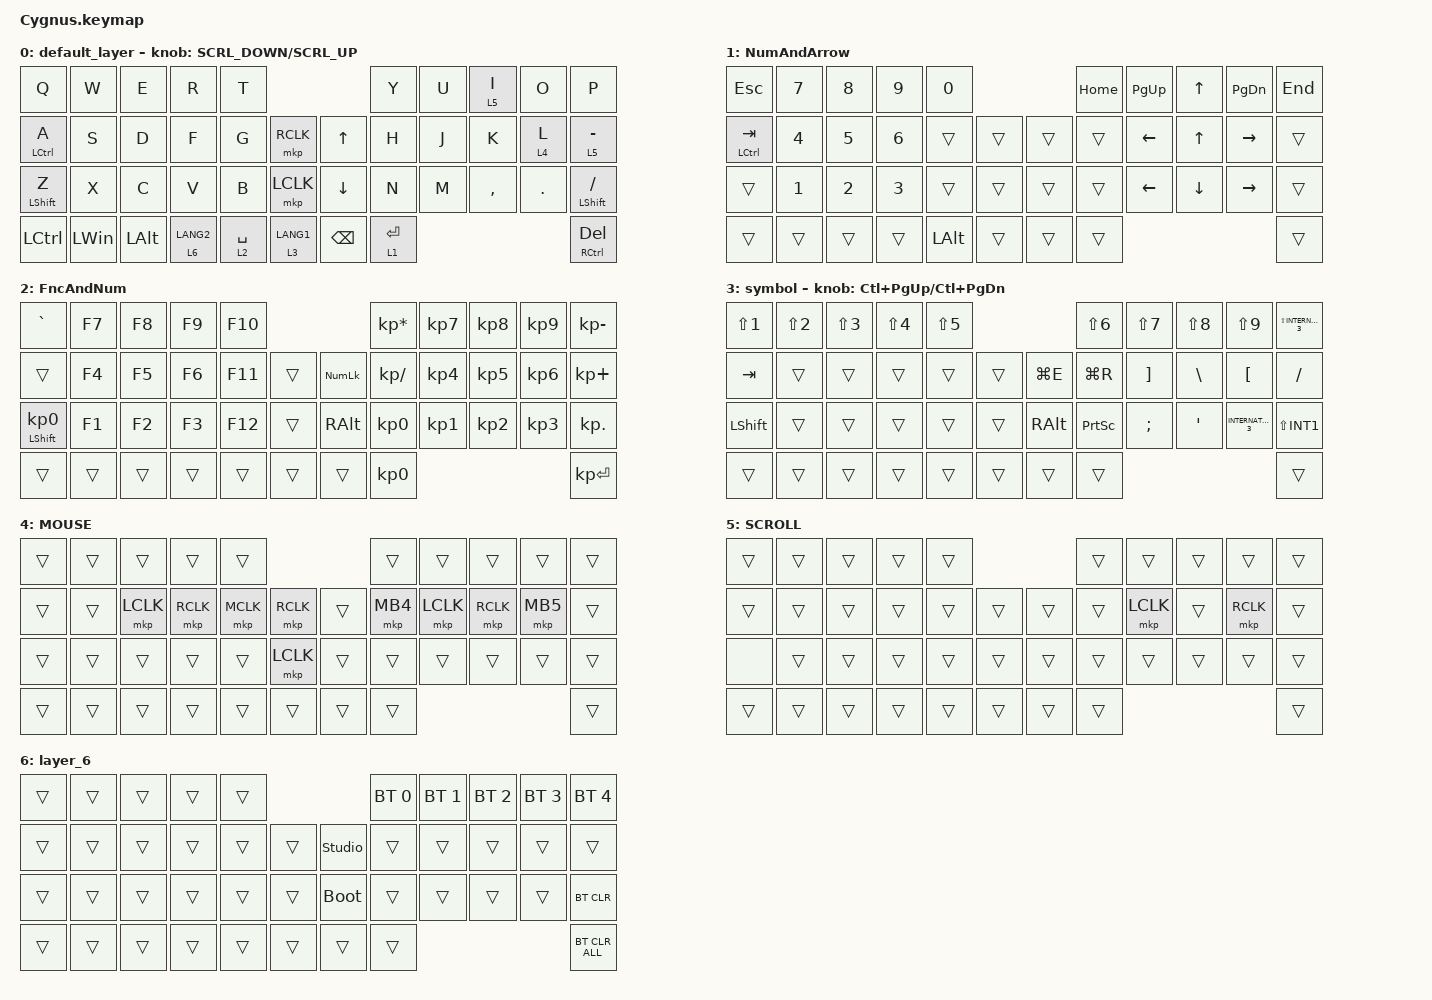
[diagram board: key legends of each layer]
#define ZMK_POINTING_DEFAULT_SCRL_VAL 120    // default: 10

#include <behaviors.dtsi>
#include <dt-bindings/zmk/bt.h>
#include <dt-bindings/zmk/keys.h>
#include <dt-bindings/zmk/pointing.h>

#define MOUSE 4
#define SCROLL 5
#define NUM 6

&mt {
    flavor = "balanced";
    quick-tap-ms = <0>;
};

/ {
    combos {
        compatible = "zmk,combos";

        double_quotation {
            bindings = <&kp DOUBLE_QUOTES>;
            key-positions = <20 21>;
        };
    };

    macros {
        to_layer_0: to_layer_0 {
            compatible = "zmk,behavior-macro-one-param";
            #binding-cells = <1>;
            bindings = <&to 0 &macro_param_1to1 &kp MACRO_PLACEHOLDER>;
            label = "TO_LAYER_0";
        };
    };

    behaviors {
        lt_to_layer_0: lt_to_layer_0 {
            compatible = "zmk,behavior-hold-tap";
            label = "LAYER_TAP_TO_0";
            bindings = <&mo>, <&to_layer_0>;

            #binding-cells = <2>;
            tapping-term-ms = <200>;
        };

        ROTATE: ROTATE {
            compatible = "zmk,behavior-sensor-rotate-var";
            label = "ROTATE";
            #sensor-binding-cells = <2>;
            bindings = <&msc>, <&msc>;

            tap-ms = <20>;
        };
    };

    keymap {
        compatible = "zmk,keymap";

        default_layer {
            bindings = <
&kp Q             &kp W         &kp E         &kp R        &kp T                                         &kp Y        &kp U  &lt 5 I    &kp O    &kp P
&mt LCTRL A       &kp S         &kp D         &kp F        &kp G        &mkp RCLK        &kp UP_ARROW    &kp H        &kp J  &kp K      &lt 4 L  &lt 5 MINUS
&mt LEFT_SHIFT Z  &kp X         &kp C         &kp V        &kp B        &mkp LCLK        &kp DOWN_ARROW  &kp N        &kp M  &kp COMMA  &kp DOT  &mt LEFT_SHIFT SLASH
&kp LCTRL         &kp LEFT_WIN  &kp LEFT_ALT  &lt 6 LANG2  &lt 2 SPACE  &lt 3 LANG1      &kp BACKSPACE   &lt 1 ENTER                             &mt RCTRL DEL
            >;

            sensor-bindings = <&ROTATE SCRL_DOWN SCRL_UP>;
        };

        NumAndArrow {
            bindings = <
&kp ESCAPE     &kp N7        &kp N8        &kp N9        &kp NUMBER_0                      &kp HOME  &kp PAGE_UP     &kp UP_ARROW    &kp PAGE_DOWN    &kp END
&mt LCTRL TAB  &kp NUMBER_4  &kp N5        &kp NUMBER_6  &trans        &trans      &trans  &trans    &kp LEFT_ARROW  &kp UP_ARROW    &kp RIGHT_ARROW  &trans
&trans         &kp NUMBER_1  &kp NUMBER_2  &kp NUMBER_3  &trans        &trans      &trans  &trans    &kp LEFT_ARROW  &kp DOWN_ARROW  &kp RIGHT_ARROW  &trans
&trans         &trans        &trans        &trans        &kp LEFT_ALT  &trans      &trans  &trans                                                     &trans
            >;
        };

        FncAndNum {
            bindings = <
&kp GRAVE                   &kp F7  &kp F8  &kp F9  &kp F10                             &kp KP_ASTERISK  &kp KP_NUMBER_7  &kp KP_NUMBER_8  &kp KP_NUMBER_9  &kp KP_MINUS
&trans                      &kp F4  &kp F5  &kp F6  &kp F11  &trans      &kp KP_NUM     &kp KP_SLASH     &kp KP_NUMBER_4  &kp KP_NUMBER_5  &kp KP_NUMBER_6  &kp KP_PLUS
&mt LEFT_SHIFT KP_NUMBER_0  &kp F1  &kp F2  &kp F3  &kp F12  &trans      &kp RIGHT_ALT  &kp KP_NUMBER_0  &kp KP_NUMBER_1  &kp KP_NUMBER_2  &kp KP_NUMBER_3  &kp KP_DOT
&trans                      &trans  &trans  &trans  &trans   &trans      &trans         &kp KP_NUMBER_0                                                     &kp KP_ENTER
            >;
        };

        symbol {
            bindings = <
&kp LS(NUMBER_1)  &kp LS(NUMBER_2)  &kp LS(NUMBER_3)  &kp LS(NUMBER_4)  &kp LS(NUMBER_5)                             &kp LS(NUMBER_6)  &kp LS(N7)         &kp LS(NUMBER_8)  &kp LS(NUMBER_9)     &kp LS(INTERNATIONAL_3)
&kp TAB           &trans            &trans            &trans            &trans            &trans      &kp LG(E)      &kp LG(R)         &kp RIGHT_BRACKET  &kp BACKSLASH     &kp LEFT_BRACKET     &kp SLASH
&kp LEFT_SHIFT    &trans            &trans            &trans            &trans            &trans      &kp RIGHT_ALT  &kp PRINTSCREEN   &kp SEMICOLON      &kp SINGLE_QUOTE  &kp INTERNATIONAL_3  &kp LS(INT1)
&trans            &trans            &trans            &trans            &trans            &trans      &trans         &trans                                                                      &trans
            >;

            sensor-bindings = <&inc_dec_kp LC(PAGE_UP) LC(PAGE_DOWN)>;
        };

        MOUSE {
            bindings = <
&trans  &trans  &trans     &trans     &trans                            &trans    &trans     &trans     &trans    &trans
&trans  &trans  &mkp LCLK  &mkp RCLK  &mkp MCLK  &mkp RCLK      &trans  &mkp MB4  &mkp LCLK  &mkp RCLK  &mkp MB5  &trans
&trans  &trans  &trans     &trans     &trans     &mkp LCLK      &trans  &trans    &trans     &trans     &trans    &trans
&trans  &trans  &trans     &trans     &trans     &trans         &trans  &trans                                    &trans
            >;
        };

        SCROLL {
            bindings = <
&trans  &trans  &trans  &trans  &trans                      &trans  &trans     &trans  &trans     &trans
&trans  &trans  &trans  &trans  &trans  &trans      &trans  &trans  &mkp LCLK  &trans  &mkp RCLK  &trans
&none   &trans  &trans  &trans  &trans  &trans      &trans  &trans  &trans     &trans  &trans     &trans
&trans  &trans  &trans  &trans  &trans  &trans      &trans  &trans                                &trans
            >;
        };

        layer_6 {
            bindings = <
&trans  &trans  &trans  &trans  &trans                              &bt BT_SEL 0  &bt BT_SEL 1  &bt BT_SEL 2  &bt BT_SEL 3  &bt BT_SEL 4
&trans  &trans  &trans  &trans  &trans  &trans      &studio_unlock  &trans        &trans        &trans        &trans        &trans
&trans  &trans  &trans  &trans  &trans  &trans      &bootloader     &trans        &trans        &trans        &trans        &bt BT_CLR
&trans  &trans  &trans  &trans  &trans  &trans      &trans          &trans                                                  &bt BT_CLR_ALL
            >;
        };
    };
};
